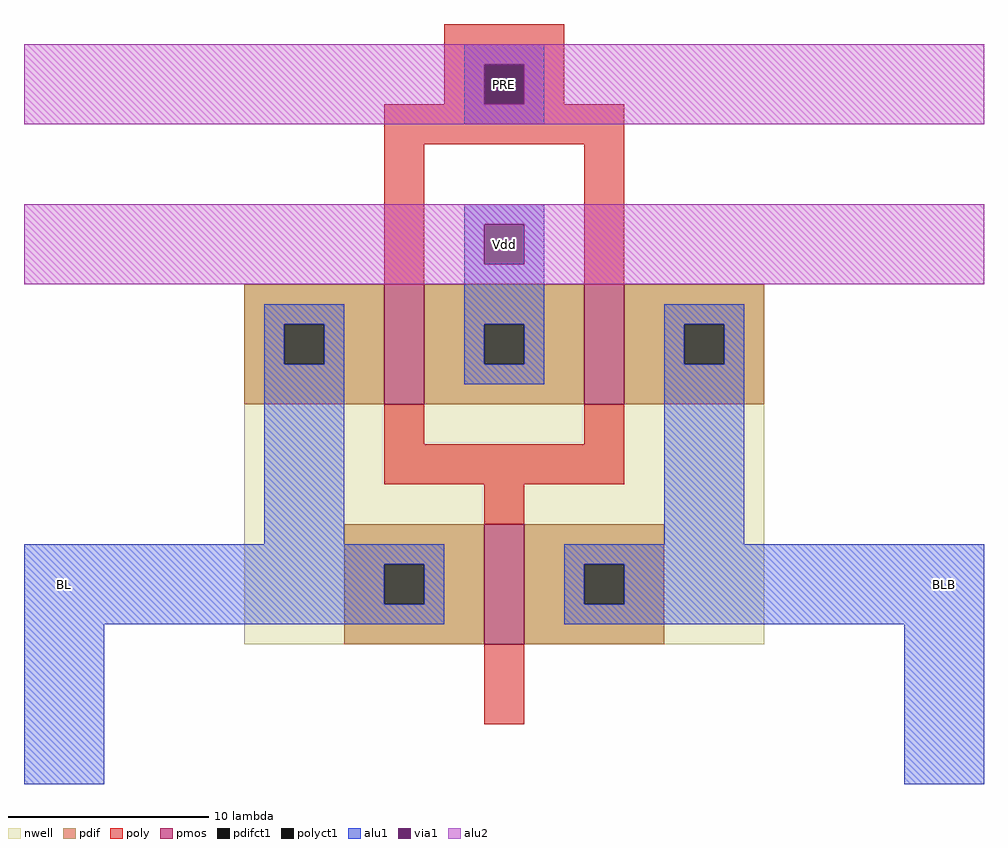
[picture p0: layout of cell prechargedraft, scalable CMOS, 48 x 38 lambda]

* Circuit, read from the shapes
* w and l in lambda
.subckt prechargedraft BL BLB PRE Vdd
M1 Vdd PRE BL n1 pfet w=6 l=2
M2 BLB PRE BL n1 pfet w=6 l=2
M3 BLB PRE Vdd n1 pfet w=6 l=2
.ends

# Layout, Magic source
magic
tech scmos
<< nwell >>
rect -13 -1 13 17
<< poly >>
rect -3 28 3 30
rect -3 26 -1 28
rect 1 26 3 28
rect -6 24 6 26
rect -6 17 -4 24
rect 4 17 6 24
rect -6 9 -4 11
rect 4 9 6 11
rect -6 7 6 9
rect -1 5 1 7
rect -1 -5 1 -1
<< pdif >>
rect -13 15 -6 17
rect -13 13 -11 15
rect -9 13 -6 15
rect -13 11 -6 13
rect -4 15 4 17
rect -4 13 -1 15
rect 1 13 4 15
rect -4 11 4 13
rect 6 15 13 17
rect 6 13 9 15
rect 11 13 13 15
rect 6 11 13 13
rect -8 3 -1 5
rect -8 1 -6 3
rect -4 1 -1 3
rect -8 -1 -1 1
rect 1 3 8 5
rect 1 1 4 3
rect 6 1 8 3
rect 1 -1 8 1
<< alu1 >>
rect -2 28 2 29
rect -2 26 -1 28
rect 1 26 2 28
rect -2 25 2 26
rect -2 20 2 21
rect -2 18 -1 20
rect 1 18 2 20
rect -12 15 -8 16
rect -12 13 -11 15
rect -9 13 -8 15
rect -12 4 -8 13
rect -2 15 2 18
rect -2 13 -1 15
rect 1 13 2 15
rect -2 12 2 13
rect 8 15 12 16
rect 8 13 9 15
rect 11 13 12 15
rect 8 4 12 13
rect -24 3 -3 4
rect -24 1 -6 3
rect -4 1 -3 3
rect -24 0 -3 1
rect 3 3 24 4
rect 3 1 4 3
rect 6 1 24 3
rect 3 0 24 1
rect -24 -8 -20 0
rect 20 -8 24 0
<< alu2 >>
rect -24 28 24 29
rect -24 26 -1 28
rect 1 26 24 28
rect -24 25 24 26
rect -24 20 24 21
rect -24 18 -1 20
rect 1 18 24 20
rect -24 17 24 18
<< pmos >>
rect -6 11 -4 17
rect 4 11 6 17
rect -1 -1 1 5
<< polyct1 >>
rect -1 26 1 28
<< pdifct1 >>
rect -11 13 -9 15
rect -1 13 1 15
rect 9 13 11 15
rect -6 1 -4 3
rect 4 1 6 3
<< via1 >>
rect -1 26 1 28
rect -1 18 1 20
<< labels >>
rlabel alu1 -22 2 -22 2 3 BL
rlabel alu1 22 2 22 2 7 BLB
rlabel via1 0 19 0 19 1 Vdd
rlabel via1 0 27 0 27 5 PRE
<< end >>
